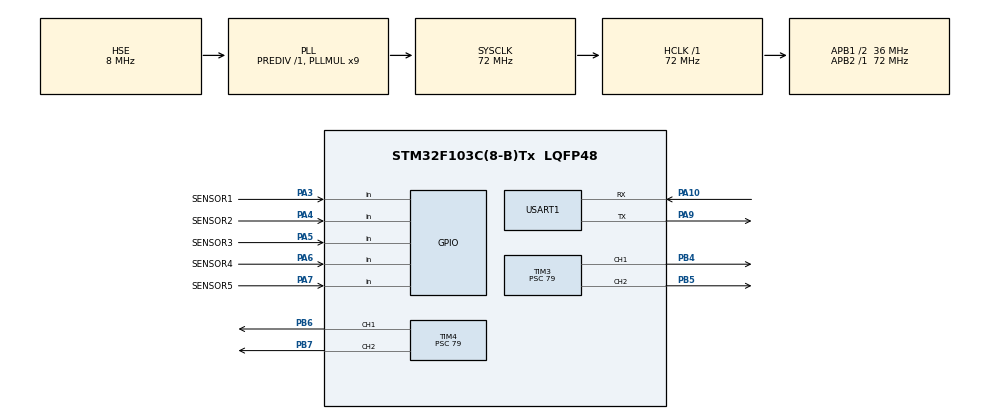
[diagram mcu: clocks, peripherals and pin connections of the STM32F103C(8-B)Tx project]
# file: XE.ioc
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Mcu.Family=STM32F1
Mcu.Name=STM32F103C(8-B)Tx
Mcu.Package=LQFP48
NVIC.PriorityGroup=NVIC_PRIORITYGROUP_4
NVIC.USART1_IRQn=true\:1\:0\:true\:false\:true\:true\:true\:true
PA10.Mode=Asynchronous
PA10.Signal=USART1_RX
PA13.Mode=Serial_Wire
PA13.Signal=SYS_JTMS-SWDIO
PA14.Mode=Serial_Wire
PA14.Signal=SYS_JTCK-SWCLK
PA3.GPIO_Label=SENSOR1
PA3.Signal=GPIO_Input
PA4.GPIO_Label=SENSOR2
PA4.Signal=GPIO_Input
PA5.GPIO_Label=SENSOR3
PA5.Signal=GPIO_Input
PA6.GPIO_Label=SENSOR4
PA6.Signal=GPIO_Input
PA7.GPIO_Label=SENSOR5
PA7.Signal=GPIO_Input
PA9.Mode=Asynchronous
PA9.Signal=USART1_TX
PB4.Signal=S_TIM3_CH1
PB5.Signal=S_TIM3_CH2
PB6.Signal=S_TIM4_CH1
PB7.Signal=S_TIM4_CH2
PD0-OSC_IN.Mode=HSE-External-Oscillator
PD0-OSC_IN.Signal=RCC_OSC_IN
PD1-OSC_OUT.Mode=HSE-External-Oscillator
PD1-OSC_OUT.Signal=RCC_OSC_OUT
ProjectManager.HeapSize=0x200
ProjectManager.StackSize=0x400
ProjectManager.TargetToolchain=STM32CubeIDE
RCC.AHBFreq_Value=72000000
RCC.APB1CLKDivider=RCC_HCLK_DIV2
RCC.APB1Freq_Value=36000000
RCC.APB1TimFreq_Value=72000000
RCC.APB2Freq_Value=72000000
RCC.APB2TimFreq_Value=72000000
RCC.HCLKFreq_Value=72000000
RCC.PLLMUL=RCC_PLL_MUL9
RCC.PLLSourceVirtual=RCC_PLLSOURCE_HSE
RCC.SYSCLKFreq_VALUE=72000000
RCC.SYSCLKSource=RCC_SYSCLKSOURCE_PLLCLK
RCC.USBFreq_Value=72000000
SH.S_TIM3_CH1.0=TIM3_CH1,PWM Generation1 CH1
SH.S_TIM3_CH2.0=TIM3_CH2,PWM Generation2 CH2
SH.S_TIM4_CH1.0=TIM4_CH1,PWM Generation1 CH1
SH.S_TIM4_CH2.0=TIM4_CH2,PWM Generation2 CH2
TIM3.Channel-PWM\ Generation1\ CH1=TIM_CHANNEL_1
TIM3.Channel-PWM\ Generation2\ CH2=TIM_CHANNEL_2
TIM3.Period=999
TIM3.Prescaler=79
TIM3.Pulse-PWM\ Generation1\ CH1=199
TIM3.Pulse-PWM\ Generation2\ CH2=0
TIM4.Channel-PWM\ Generation1\ CH1=TIM_CHANNEL_1
TIM4.Channel-PWM\ Generation2\ CH2=TIM_CHANNEL_2
TIM4.Period=999
TIM4.Prescaler=79
TIM4.Pulse-PWM\ Generation1\ CH1=199
TIM4.Pulse-PWM\ Generation2\ CH2=0
USART1.VirtualMode=VM_ASYNC
VP_TIM3_VS_ClockSourceINT.Mode=Internal
VP_TIM4_VS_ClockSourceINT.Mode=Internal
board=custom

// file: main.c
/* USER CODE BEGIN Header */
/**
  ******************************************************************************
  * @file           : main.c
  * @brief          : Main program body
  ******************************************************************************
  * @attention
  *
  * Copyright (c) 2024 STMicroelectronics.
  * All rights reserved.
  *
  * This software is licensed under terms that can be found in the LICENSE file
  * in the root directory of this software component.
  * If no LICENSE file comes with this software, it is provided AS-IS.
  *
  ******************************************************************************
  */
/* USER CODE END Header */
#include "main.h"

TIM_HandleTypeDef htim3;
TIM_HandleTypeDef htim4;

UART_HandleTypeDef huart1;

/* USER CODE BEGIN PV */

	const int ARR = 10;
	int position;
	int last_end = 0;	// 0 -> Left, 1 -> Right
	int actives = 0;
	int last_idle = 0;

	    float Kp = 0.002; //set up the constants value
		float Ki = 0.005;
		float Kd = 0.005;
//		float Kr = 0.001;
		int P, I, D, R ;

		int lastError = 0;

		int errors[10] = {0,0,0,0,0,0,0,0,0,0};
		int error_sum = 0;

/* USER CODE END PV */

void SystemClock_Config(void);
static void MX_GPIO_Init(void);
static void MX_TIM3_Init(void);
static void MX_TIM4_Init(void);
static void MX_USART1_UART_Init(void);

/* USER CODE BEGIN 0 */

//Hàm dùng driver đi�?u khiển động cơ
void motor_control (double pos_right, double pos_left)
{
	if (pos_left < 0 )
	{
		__HAL_TIM_SET_COMPARE (&htim3, TIM_CHANNEL_1, ARR*0);
		__HAL_TIM_SET_COMPARE (&htim3, TIM_CHANNEL_2, -ARR*pos_left);
	}
	if (pos_left > 0 )
	{
		__HAL_TIM_SET_COMPARE (&htim3, TIM_CHANNEL_1, ARR*pos_left);
		__HAL_TIM_SET_COMPARE (&htim3, TIM_CHANNEL_2, ARR*0);
	}
	if (pos_left == 0 )
		{
			__HAL_TIM_SET_COMPARE (&htim3, TIM_CHANNEL_1, ARR*0);
			__HAL_TIM_SET_COMPARE (&htim3, TIM_CHANNEL_2, ARR*0);
		}
	if (pos_right < 0 )
	{
		__HAL_TIM_SET_COMPARE (&htim4, TIM_CHANNEL_1, ARR*0);
		__HAL_TIM_SET_COMPARE (&htim4, TIM_CHANNEL_2, -ARR*pos_right);
	}
	if (pos_right > 0 )
	{
		__HAL_TIM_SET_COMPARE (&htim4, TIM_CHANNEL_1, ARR*pos_right);
		__HAL_TIM_SET_COMPARE (&htim4, TIM_CHANNEL_2, ARR*0);
	}
	if (pos_right == 0 )
		{
			__HAL_TIM_SET_COMPARE (&htim4, TIM_CHANNEL_1, ARR*0);
			__HAL_TIM_SET_COMPARE (&htim4, TIM_CHANNEL_2, ARR*0);
		}

}

//Hàm lưu lịch sử lỗi
void past_errors (int error)
{
  for (int i = 9; i > 0; i--)
      errors[i] = errors[i-1];
  	  errors[0] = error;
}

// Hàm tính tổng các giá trị lỗi
int errors_sum (int index, int abs)
{
  int sum = 0;
  for (int i = 0; i < index; i++)
  {
    if (abs == 1 & errors[i] < 0)
      sum += -errors[i];
    else
      sum += errors[i];
  }
  return sum;
}

// Hàm xử lí trư�?ng hợp xe lệch kh�?i line và cần phải rẽ gấp
void sharp_turn () {

	if (last_idle < 25)     //khi xe còn gần line
	{
		if (last_end == 1)   //xe lệch bên phải line
			motor_control(-20, 50);
		//else if (last_end == 2) motor_control(100, 100);
		else
			motor_control(50, -20);
	}
	else
	{
		if (last_end == 1)
			motor_control(-20, 30);
		//else if (last_end == 2) motor_control(100, 100);
		else
			motor_control(30, -20);
	}
}

// Hàm đi�?u khiển xe dựa trên tín hiệu cảm biến
void forward_brake(int pos_right, int pos_left)
{
	if (actives == 0)      // không có cảm biến nào sáng
		sharp_turn();
	else
	  motor_control(pos_right, pos_left);
}

//Hàm nhận lệnh từ ESP32 và xử lý chúng
//void UART_Receive_Command(void)
//{
//    uint8_t rxData;
//    if (HAL_UART_Receive(&huart1, &rxData, 1, HAL_MAX_DELAY) == HAL_OK)
//    {
//        switch (rxData)
//        {
//            case 'F': // Forward
//                motor_control(100, 100);
//                break;
//            case 'B': // Backward
//                motor_control(-100, -100);
//                break;
//            case 'L': // Left
//                motor_control(-100, 100);
//                break;
//            case 'R': // Right
//                motor_control(100, -100);
//                break;
//            case 'S': // Stop
//                motor_control(0, 0);
//                break;
//            default:
//                // Xử lý lệnh không hợp lệ
//                break;
//        }
//    }
//}

/* USER CODE END 0 */

int main(void)
{

  /* MCU Configuration--------------------------------------------------------*/

  /* Reset of all peripherals, Initializes the Flash interface and the Systick. */
  HAL_Init();

  /* Configure the system clock */
  SystemClock_Config();

  /* Initialize all configured peripherals */
  MX_GPIO_Init();
  MX_TIM3_Init();
  MX_TIM4_Init();
  MX_USART1_UART_Init();
  /* USER CODE BEGIN 2 */
  HAL_TIM_PWM_Start(&htim3,TIM_CHANNEL_1);
  HAL_TIM_PWM_Start(&htim3,TIM_CHANNEL_2);
  HAL_TIM_PWM_Start(&htim4, TIM_CHANNEL_1);
  HAL_TIM_PWM_Start(&htim4, TIM_CHANNEL_2);

//  	__HAL_TIM_SET_COMPARE (&htim3, TIM_CHANNEL_1, 100);
//  	__HAL_TIM_SET_COMPARE (&htim3, TIM_CHANNEL_2, 100);
//  	__HAL_TIM_SET_COMPARE (&htim4, TIM_CHANNEL_1, 0);
//  	__HAL_TIM_SET_COMPARE (&htim4, TIM_CHANNEL_2, 0);
//  	HAL_Delay(6000);
  /* USER CODE END 2 */

  /* Infinite loop */
  while (1)
  {

    /* USER CODE BEGIN 3 */

	  //UART_Receive_Command();

	  	  	  	  int pos = 0;
	  		      int active = 0;
	  		  	  GPIO_PinState SENSOR1  = HAL_GPIO_ReadPin(SENSOR1_GPIO_Port, SENSOR1_Pin);
	  		  	  GPIO_PinState SENSOR2  = HAL_GPIO_ReadPin(SENSOR2_GPIO_Port, SENSOR2_Pin);
	  		  	  GPIO_PinState SENSOR3  = HAL_GPIO_ReadPin(SENSOR3_GPIO_Port, SENSOR3_Pin);
	  		  	  GPIO_PinState SENSOR4  = HAL_GPIO_ReadPin(SENSOR4_GPIO_Port, SENSOR4_Pin);
	  		  	  GPIO_PinState SENSOR5  = HAL_GPIO_ReadPin(SENSOR5_GPIO_Port, SENSOR5_Pin);

	  		  	  if(SENSOR1 == GPIO_PIN_RESET)
	  		  	  {
	  		  		  pos += 1000;
	  		  		  active++;
	  		  		  last_end = 1;
	  		  	  }

	  		  	  if(SENSOR2 == GPIO_PIN_RESET)
	  		  	  	  {
	  		  	  		  pos += 2000;
	  		  	  		  active++;
	  		  	  		  //last_end = 1;
	  		  	  	  }

	  		  	  if(SENSOR3 == GPIO_PIN_RESET)
	  		  	  	  	  {
	  		  	  	  		  pos += 3000;
	  		  	  	  		  active++;
	  		  	  	  		  //last_end = 2;
	  		  	  	  	  }

	  		  	  if(SENSOR4 == GPIO_PIN_RESET)
	  		  	  	  	  {
	  		  	  	  		  pos += 4000;
	  		  	  	  		  active++;
	  		  	  	  		  //last_end = 0;
	  		  	  	  	  }

	  		  	  if(SENSOR5 == GPIO_PIN_RESET)
	  		  	  	  	  {
	  		  	  	  		  pos += 5000;
	  		  	  	  		  active++;
	  		  	  	  		  last_end = 0;
	  		  	  	  	  }

	  		  	  actives = active;
	  		  	  	  	  if (actives == 0) last_idle++;
	  		  		  	  else last_idle = 0;

	  		  	  position = pos/active;

	  		  	  int error = 3000 - position;

//	  		  	past_errors(error);

	  		  	P = error;
       		  	I = errors_sum(3,0);
	  		  	D = error - lastError;
//	  		  	R = errors_sum(2, 1);
	  		  	lastError = error ;

	  		  	int motorspeed =  P*Kp + I*Ki + D*Kd;

	  		  	int motorspeedl = 20 + motorspeed ;//- Kr*R
	  		  	int motorspeedr = 20 - motorspeed ;//- Kr*R

	  		  	if(motorspeedl > 100) motorspeedl = 30;
	  		  	if(motorspeedr > 100) motorspeedr = 30;

	  		  	forward_brake(motorspeedr, motorspeedl);

  }
  /* USER CODE END 3 */
}

void SystemClock_Config(void)
{
  RCC_OscInitTypeDef RCC_OscInitStruct = {0};
  RCC_ClkInitTypeDef RCC_ClkInitStruct = {0};

  /** Initializes the RCC Oscillators according to the specified parameters
  * in the RCC_OscInitTypeDef structure.
  */
  RCC_OscInitStruct.OscillatorType = RCC_OSCILLATORTYPE_HSE;
  RCC_OscInitStruct.HSEState = RCC_HSE_ON;
  RCC_OscInitStruct.HSEPredivValue = RCC_HSE_PREDIV_DIV1;
  RCC_OscInitStruct.HSIState = RCC_HSI_ON;
  RCC_OscInitStruct.PLL.PLLState = RCC_PLL_ON;
  RCC_OscInitStruct.PLL.PLLSource = RCC_PLLSOURCE_HSE;
  RCC_OscInitStruct.PLL.PLLMUL = RCC_PLL_MUL9;
  if (HAL_RCC_OscConfig(&RCC_OscInitStruct) != HAL_OK)
  {
    Error_Handler();
  }

  /** Initializes the CPU, AHB and APB buses clocks
  */
  RCC_ClkInitStruct.ClockType = RCC_CLOCKTYPE_HCLK|RCC_CLOCKTYPE_SYSCLK
                              |RCC_CLOCKTYPE_PCLK1|RCC_CLOCKTYPE_PCLK2;
  RCC_ClkInitStruct.SYSCLKSource = RCC_SYSCLKSOURCE_PLLCLK;
  RCC_ClkInitStruct.AHBCLKDivider = RCC_SYSCLK_DIV1;
  RCC_ClkInitStruct.APB1CLKDivider = RCC_HCLK_DIV2;
  RCC_ClkInitStruct.APB2CLKDivider = RCC_HCLK_DIV1;

  if (HAL_RCC_ClockConfig(&RCC_ClkInitStruct, FLASH_LATENCY_2) != HAL_OK)
  {
    Error_Handler();
  }
}

static void MX_TIM3_Init(void)
{

  TIM_ClockConfigTypeDef sClockSourceConfig = {0};
  TIM_MasterConfigTypeDef sMasterConfig = {0};
  TIM_OC_InitTypeDef sConfigOC = {0};

  htim3.Instance = TIM3;
  htim3.Init.Prescaler = 79;
  htim3.Init.CounterMode = TIM_COUNTERMODE_UP;
  htim3.Init.Period = 999;
  htim3.Init.ClockDivision = TIM_CLOCKDIVISION_DIV1;
  htim3.Init.AutoReloadPreload = TIM_AUTORELOAD_PRELOAD_DISABLE;
  if (HAL_TIM_Base_Init(&htim3) != HAL_OK)
  {
    Error_Handler();
  }
  sClockSourceConfig.ClockSource = TIM_CLOCKSOURCE_INTERNAL;
  if (HAL_TIM_ConfigClockSource(&htim3, &sClockSourceConfig) != HAL_OK)
  {
    Error_Handler();
  }
  if (HAL_TIM_PWM_Init(&htim3) != HAL_OK)
  {
    Error_Handler();
  }
  sMasterConfig.MasterOutputTrigger = TIM_TRGO_RESET;
  sMasterConfig.MasterSlaveMode = TIM_MASTERSLAVEMODE_DISABLE;
  if (HAL_TIMEx_MasterConfigSynchronization(&htim3, &sMasterConfig) != HAL_OK)
  {
    Error_Handler();
  }
  sConfigOC.OCMode = TIM_OCMODE_PWM1;
  sConfigOC.Pulse = 199;
  sConfigOC.OCPolarity = TIM_OCPOLARITY_HIGH;
  sConfigOC.OCFastMode = TIM_OCFAST_DISABLE;
  if (HAL_TIM_PWM_ConfigChannel(&htim3, &sConfigOC, TIM_CHANNEL_1) != HAL_OK)
  {
    Error_Handler();
  }
  sConfigOC.Pulse = 0;
  if (HAL_TIM_PWM_ConfigChannel(&htim3, &sConfigOC, TIM_CHANNEL_2) != HAL_OK)
  {
    Error_Handler();
  }
  HAL_TIM_MspPostInit(&htim3);

}

static void MX_TIM4_Init(void)
{

  TIM_ClockConfigTypeDef sClockSourceConfig = {0};
  TIM_MasterConfigTypeDef sMasterConfig = {0};
  TIM_OC_InitTypeDef sConfigOC = {0};

  htim4.Instance = TIM4;
  htim4.Init.Prescaler = 79;
  htim4.Init.CounterMode = TIM_COUNTERMODE_UP;
  htim4.Init.Period = 999;
  htim4.Init.ClockDivision = TIM_CLOCKDIVISION_DIV1;
  htim4.Init.AutoReloadPreload = TIM_AUTORELOAD_PRELOAD_DISABLE;
  if (HAL_TIM_Base_Init(&htim4) != HAL_OK)
  {
    Error_Handler();
  }
  sClockSourceConfig.ClockSource = TIM_CLOCKSOURCE_INTERNAL;
  if (HAL_TIM_ConfigClockSource(&htim4, &sClockSourceConfig) != HAL_OK)
  {
    Error_Handler();
  }
  if (HAL_TIM_PWM_Init(&htim4) != HAL_OK)
  {
    Error_Handler();
  }
  sMasterConfig.MasterOutputTrigger = TIM_TRGO_RESET;
  sMasterConfig.MasterSlaveMode = TIM_MASTERSLAVEMODE_DISABLE;
  if (HAL_TIMEx_MasterConfigSynchronization(&htim4, &sMasterConfig) != HAL_OK)
  {
    Error_Handler();
  }
  sConfigOC.OCMode = TIM_OCMODE_PWM1;
  sConfigOC.Pulse = 199;
  sConfigOC.OCPolarity = TIM_OCPOLARITY_HIGH;
  sConfigOC.OCFastMode = TIM_OCFAST_DISABLE;
  if (HAL_TIM_PWM_ConfigChannel(&htim4, &sConfigOC, TIM_CHANNEL_1) != HAL_OK)
  {
    Error_Handler();
  }
  sConfigOC.Pulse = 0;
  if (HAL_TIM_PWM_ConfigChannel(&htim4, &sConfigOC, TIM_CHANNEL_2) != HAL_OK)
  {
    Error_Handler();
  }
  HAL_TIM_MspPostInit(&htim4);

}

static void MX_USART1_UART_Init(void)
{

  huart1.Instance = USART1;
  huart1.Init.BaudRate = 115200;
  huart1.Init.WordLength = UART_WORDLENGTH_8B;
  huart1.Init.StopBits = UART_STOPBITS_1;
  huart1.Init.Parity = UART_PARITY_NONE;
  huart1.Init.Mode = UART_MODE_TX_RX;
  huart1.Init.HwFlowCtl = UART_HWCONTROL_NONE;
  huart1.Init.OverSampling = UART_OVERSAMPLING_16;
  if (HAL_UART_Init(&huart1) != HAL_OK)
  {
    Error_Handler();
  }

}

static void MX_GPIO_Init(void)
{
  GPIO_InitTypeDef GPIO_InitStruct = {0};

  /* GPIO Ports Clock Enable */
  __HAL_RCC_GPIOD_CLK_ENABLE();
  __HAL_RCC_GPIOA_CLK_ENABLE();
  __HAL_RCC_GPIOB_CLK_ENABLE();

  /*Configure GPIO pins : SENSOR1_Pin SENSOR2_Pin SENSOR3_Pin SENSOR4_Pin
                           SENSOR5_Pin */
  GPIO_InitStruct.Pin = SENSOR1_Pin|SENSOR2_Pin|SENSOR3_Pin|SENSOR4_Pin
                          |SENSOR5_Pin;
  GPIO_InitStruct.Mode = GPIO_MODE_INPUT;
  GPIO_InitStruct.Pull = GPIO_NOPULL;
  HAL_GPIO_Init(GPIOA, &GPIO_InitStruct);

}

void Error_Handler(void)
{
  __disable_irq();
  while (1)
  {
  }
}
